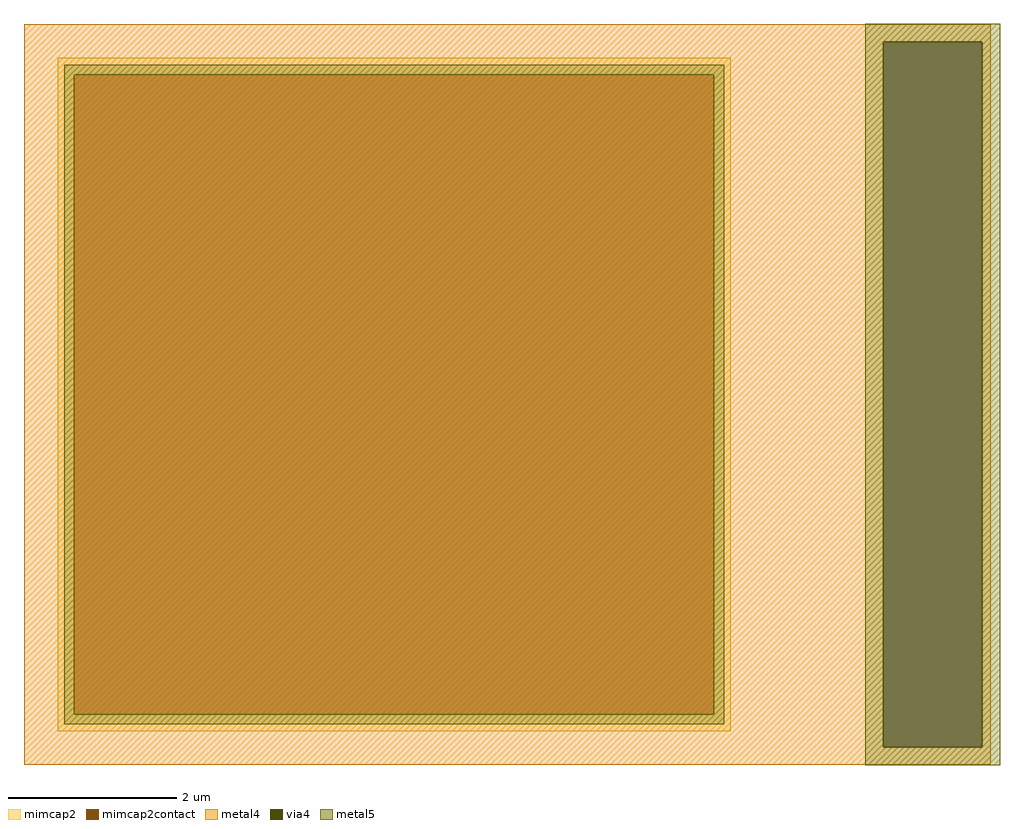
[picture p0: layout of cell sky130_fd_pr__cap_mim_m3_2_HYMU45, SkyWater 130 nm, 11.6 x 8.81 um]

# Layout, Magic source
magic
tech sky130A
magscale 1 2
<< metal4 >>
rect -1149 839 1149 880
rect -1149 -839 893 839
rect 1129 -839 1149 839
rect -1149 -880 1149 -839
<< via4 >>
rect 893 -839 1129 839
<< mimcap2 >>
rect -1069 760 531 800
rect -1069 -760 -1029 760
rect 491 -760 531 760
rect -1069 -800 531 -760
<< mimcap2contact >>
rect -1029 -760 491 760
<< metal5 >>
rect 851 839 1171 881
rect -1053 760 515 784
rect -1053 -760 -1029 760
rect 491 -760 515 760
rect -1053 -784 515 -760
rect 851 -839 893 839
rect 1129 -839 1171 839
rect 851 -881 1171 -839
<< properties >>
string FIXED_BBOX -1149 -880 611 880
string gencell sky130_fd_pr__cap_mim_m3_2
string library sky130
string parameters w 8.0 l 8.0 val 134.08 carea 2.00 cperi 0.19 nx 1 ny 1 dummy 0 square 0 lmin 2.00 wmin 2.00 lmax 30.0 wmax 30.0 dc 0 bconnect 1 tconnect 1 ccov 100
<< end >>
